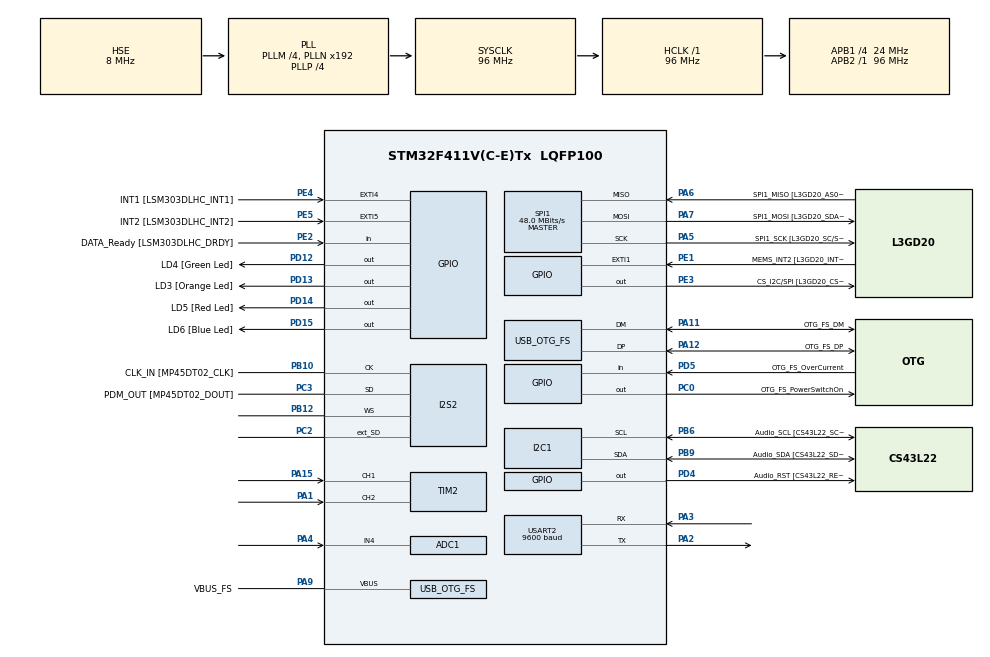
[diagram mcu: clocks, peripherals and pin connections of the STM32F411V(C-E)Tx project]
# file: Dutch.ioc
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ADC1.Channel-0\#ChannelRegularConversion=ADC_CHANNEL_4
ADC1.ContinuousConvMode=ENABLE
ADC1.NbrOfConversionFlag=1
ADC1.master=1
I2S2.AudioFreq=I2S_AUDIOFREQ_96K
I2S2.ErrorAudioFreq=0.15 %
I2S2.FullDuplexMode=I2S_FULLDUPLEXMODE_ENABLE
I2S2.Instance=SPI$Index
I2S2.RealAudioFreq=96.153 KHz
I2S2.VirtualMode=I2S_MODE_MASTER
Mcu.Family=STM32F4
Mcu.Name=STM32F411V(C-E)Tx
Mcu.Package=LQFP100
NVIC.OTG_FS_IRQn=true\:0\:0\:false\:false\:true\:true\:true\:true
NVIC.PriorityGroup=NVIC_PRIORITYGROUP_0
PA0-WKUP.Signal=S_TIM5_CH1
PA1.Signal=S_TIM2_CH2
PA10.GPIO_Label=OTG_FS_ID
PA10.Signal=USB_OTG_FS_ID
PA11.GPIO_Label=OTG_FS_DM
PA11.Mode=Host_Only
PA11.Signal=USB_OTG_FS_DM
PA12.GPIO_Label=OTG_FS_DP
PA12.Mode=Host_Only
PA12.Signal=USB_OTG_FS_DP
PA13.GPIO_Label=SWDIO
PA13.Mode=Serial_Wire
PA13.Signal=SYS_JTMS-SWDIO
PA14.GPIO_Label=SWCLK
PA14.Mode=Serial_Wire
PA14.Signal=SYS_JTCK-SWCLK
PA15.Signal=S_TIM2_CH1_ETR
PA2.Mode=Asynchronous
PA2.Signal=USART2_TX
PA3.Mode=Asynchronous
PA3.Signal=USART2_RX
PA4.Signal=ADCx_IN4
PA5.GPIO_Label=SPI1_SCK [L3GD20_SC/SPC]
PA5.Mode=Full_Duplex_Master
PA5.Signal=SPI1_SCK
PA6.GPIO_Label=SPI1_MISO [L3GD20_AS0/SDO]
PA6.Mode=Full_Duplex_Master
PA6.Signal=SPI1_MISO
PA7.GPIO_Label=SPI1_MOSI [L3GD20_SDA/SDI/SDO]
PA7.Mode=Full_Duplex_Master
PA7.Signal=SPI1_MOSI
PA9.GPIO_Label=VBUS_FS
PA9.Mode=Activate_VBUS
PA9.Signal=USB_OTG_FS_VBUS
PB10.GPIO_Label=CLK_IN [MP45DT02_CLK]
PB10.Mode=Full_Duplex_Master
PB10.Signal=I2S2_CK
PB12.Mode=Full_Duplex_Master
PB12.Signal=I2S2_WS
PB3.GPIO_Label=SWO
PB3.Signal=SYS_JTDO-SWO
PB6.GPIO_Label=Audio_SCL [CS43L22_SCL]
PB6.GPIO_Mode=GPIO_MODE_AF_OD
PB6.GPIO_Pu=GPIO_PULLUP
PB6.GPIO_PuPd=GPIO_NOPULL
PB6.GPIO_Speed=GPIO_SPEED_FREQ_LOW
PB6.Mode=I2C
PB6.Signal=I2C1_SCL
PB9.GPIO_Label=Audio_SDA [CS43L22_SDA]
PB9.GPIO_Mode=GPIO_MODE_AF_OD
PB9.GPIO_Pu=GPIO_PULLUP
PB9.GPIO_PuPd=GPIO_NOPULL
PB9.GPIO_Speed=GPIO_SPEED_FREQ_LOW
PB9.Mode=I2C
PB9.Signal=I2C1_SDA
PC0.GPIO_Label=OTG_FS_PowerSwitchOn
PC0.PinState=GPIO_PIN_SET
PC0.Signal=GPIO_Output
PC10.GPIO_Label=I2S3_SCK [CS43L22_SCLK]
PC10.GPIO_Mode=GPIO_MODE_AF_PP
PC10.GPIO_PuPd=GPIO_NOPULL
PC10.GPIO_Speed=GPIO_SPEED_FREQ_LOW
PC10.Signal=I2S3_CK
PC12.GPIO_Label=I2S3_SD [CS43L22_SDIN]
PC12.GPIO_Mode=GPIO_MODE_AF_PP
PC12.GPIO_PuPd=GPIO_NOPULL
PC12.GPIO_Speed=GPIO_SPEED_FREQ_LOW
PC12.Signal=I2S3_SD
PC14-OSC32_IN.GPIO_Label=PC14-OSC32_IN
PC14-OSC32_IN.Mode=LSE-External-Oscillator
PC14-OSC32_IN.Signal=RCC_OSC32_IN
PC15-OSC32_OUT.GPIO_Label=PC15-OSC32_OUT
PC15-OSC32_OUT.Mode=LSE-External-Oscillator
PC15-OSC32_OUT.Signal=RCC_OSC32_OUT
PC2.Mode=Full_Duplex_Master
PC2.Signal=I2S2_ext_SD
PC3.GPIO_Label=PDM_OUT [MP45DT02_DOUT]
PC3.Mode=Full_Duplex_Master
PC3.Signal=I2S2_SD
PC7.GPIO_Label=I2S3_MCK [CS43L22_MCLK]
PC7.GPIO_Mode=GPIO_MODE_AF_PP
PC7.GPIO_PuPd=GPIO_NOPULL
PC7.GPIO_Speed=GPIO_SPEED_FREQ_LOW
PC7.Signal=I2S3_MCK
PD12.GPIO_Label=LD4 [Green Led]
PD12.GPIO_PuPd=GPIO_NOPULL
PD12.GPIO_Speed=GPIO_SPEED_FREQ_LOW
PD12.Signal=GPIO_Output
PD13.GPIO_Label=LD3 [Orange Led]
PD13.GPIO_PuPd=GPIO_NOPULL
PD13.GPIO_Speed=GPIO_SPEED_FREQ_LOW
PD13.Signal=GPIO_Output
PD14.GPIO_Label=LD5 [Red Led]
PD14.GPIO_PuPd=GPIO_NOPULL
PD14.GPIO_Speed=GPIO_SPEED_FREQ_LOW
PD14.Signal=GPIO_Output
PD15.GPIO_Label=LD6 [Blue Led]
PD15.GPIO_PuPd=GPIO_NOPULL
PD15.GPIO_Speed=GPIO_SPEED_FREQ_LOW
PD15.Signal=GPIO_Output
PD4.GPIO_Label=Audio_RST [CS43L22_RESET]
PD4.Signal=GPIO_Output
PD5.GPIO_Label=OTG_FS_OverCurrent
PD5.Signal=GPIO_Input
PE1.GPIO_Label=MEMS_INT2 [L3GD20_INT2]
PE1.GPIO_ModeDefaultEXTI=GPIO_MODE_EVT_RISING
PE1.Signal=GPXTI1
PE2.GPIO_Label=DATA_Ready [LSM303DLHC_DRDY]
PE2.Signal=GPIO_Input
PE3.GPIO_Label=CS_I2C/SPI [L3GD20_CS_I2C/SPI]
PE3.Signal=GPIO_Output
PE4.GPIO_Label=INT1 [LSM303DLHC_INT1]
PE4.GPIO_ModeDefaultEXTI=GPIO_MODE_EVT_RISING
PE4.Signal=GPXTI4
PE5.GPIO_Label=INT2 [LSM303DLHC_INT2]
PE5.GPIO_ModeDefaultEXTI=GPIO_MODE_EVT_RISING
PE5.Signal=GPXTI5
PH0\ -\ OSC_IN.GPIO_Label=PH0-OSC_IN
PH0\ -\ OSC_IN.Mode=HSE-External-Oscillator
PH0\ -\ OSC_IN.Signal=RCC_OSC_IN
PH1\ -\ OSC_OUT.GPIO_Label=PH1-OSC_OUT
PH1\ -\ OSC_OUT.Mode=HSE-External-Oscillator
PH1\ -\ OSC_OUT.Signal=RCC_OSC_OUT
ProjectManager.HeapSize=0x200
ProjectManager.StackSize=0x400
ProjectManager.TargetToolchain=STM32CubeIDE
RCC.48MHZClocksFreq_Value=48000000
RCC.AHBFreq_Value=96000000
RCC.APB1CLKDivider=RCC_HCLK_DIV4
RCC.APB1Freq_Value=24000000
RCC.APB1TimFreq_Value=48000000
RCC.APB2Freq_Value=96000000
RCC.APB2TimFreq_Value=96000000
RCC.CortexFreq_Value=96000000
RCC.HCLKFreq_Value=96000000
RCC.HSE_VALUE=8000000
RCC.HSI_VALUE=16000000
RCC.PLLI2SM=5
RCC.PLLI2SN=200
RCC.PLLM=4
RCC.PLLP=RCC_PLLP_DIV4
RCC.PLLQ=8
RCC.SYSCLKFreq_VALUE=96000000
RCC.SYSCLKSource=RCC_SYSCLKSOURCE_PLLCLK
RCC.VCOOutputFreq_Value=384000000
SH.ADCx_IN4.0=ADC1_IN4,IN4
SH.S_TIM2_CH1_ETR.0=TIM2_CH1,Encoder_Interface
SH.S_TIM2_CH2.0=TIM2_CH2,Encoder_Interface
SH.S_TIM5_CH1.0=TIM5_CH1
SPI1.BaudRatePrescaler=SPI_BAUDRATEPRESCALER_2
SPI1.CalculateBaudRate=48.0 MBits/s
SPI1.Direction=SPI_DIRECTION_2LINES
SPI1.Mode=SPI_MODE_MASTER
SPI1.VirtualType=VM_MASTER
TIM2.IC1Filter=5
USART2.BaudRate=9600
USART2.VirtualMode=VM_ASYNC
USB_HOST.BSP.number=1
USB_HOST.USBH_HandleTypeDef=hUsbHostFS
USB_HOST.VirtualModeFS=Cdc
USB_HOST0.BSP.STBoard=false
USB_HOST0.BSP.api=Unknown
USB_HOST0.BSP.instance=PC0
USB_HOST0.BSP.ip=GPIO
USB_HOST0.BSP.mode=Output
USB_HOST0.BSP.name=Drive_VBUS_FS
USB_HOST0.BSP.solution=PC0
USB_OTG_FS.VirtualMode=Host_Only
USB_OTG_FS.phy_itface=HCD_PHY_EMBEDDED
VP_USB_HOST_VS_USB_HOST_CDC_FS.Mode=CDC_FS
board=STM32F411E-DISCO

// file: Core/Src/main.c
/* USER CODE BEGIN Header */
/**
  ******************************************************************************
  * @file           : main.c
  * @brief          : Main program body
  ******************************************************************************
  * @attention
  *
  * Copyright (c) 2025 STMicroelectronics.
  * All rights reserved.
  *
  * This software is licensed under terms that can be found in the LICENSE file
  * in the root directory of this software component.
  * If no LICENSE file comes with this software, it is provided AS-IS.
  *
  ******************************************************************************
  */
/* USER CODE END Header */
#include "main.h"
#include <math.h>
#include "usb_host.h"
#include <stdio.h>
#include <string.h>

ADC_HandleTypeDef hadc1;

I2C_HandleTypeDef hi2c1;

I2S_HandleTypeDef hi2s2;

SPI_HandleTypeDef hspi1;

TIM_HandleTypeDef htim2;

UART_HandleTypeDef huart2;

/* USER CODE BEGIN PV */
#define BUFFER_SIZE 3
uint32_t potentiometer_buffer[BUFFER_SIZE] = {0};
uint8_t buffer_index = 0;

/* USER CODE END PV */

void SystemClock_Config(void);
static void MX_GPIO_Init(void);
static void MX_I2C1_Init(void);
static void MX_I2S2_Init(void);
static void MX_SPI1_Init(void);
static void MX_USART2_UART_Init(void);
static void MX_TIM2_Init(void);
static void MX_ADC1_Init(void);
void MX_USB_HOST_Process(void);

int main(void)
{

  /* MCU Configuration--------------------------------------------------------*/

  /* Reset of all peripherals, Initializes the Flash interface and the Systick. */
  HAL_Init();

  /* Configure the system clock */
  SystemClock_Config();

  /* Initialize all configured peripherals */
  MX_GPIO_Init();
  MX_I2C1_Init();
  MX_I2S2_Init();
  MX_SPI1_Init();
  MX_USB_HOST_Init();
  MX_USART2_UART_Init();
  MX_TIM2_Init();
  MX_ADC1_Init();
  /* USER CODE BEGIN 2 */
  GPIO_InitTypeDef GPIO_InitStruct = {0};
  __HAL_RCC_GPIOA_CLK_ENABLE();

  GPIO_InitStruct.Pin = GPIO_PIN_0 | GPIO_PIN_1;
  GPIO_InitStruct.Mode = GPIO_MODE_AF_PP;
  GPIO_InitStruct.Pull = GPIO_PULLUP;           // <--- Enable internal pull-ups
  GPIO_InitStruct.Speed = GPIO_SPEED_FREQ_LOW;
  GPIO_InitStruct.Alternate = GPIO_AF1_TIM2;    // AF1 corresponds to TIM2 on PA0/PA1
  HAL_GPIO_Init(GPIOA, &GPIO_InitStruct);

  #define ADC_BUFFER_SIZE 5
  int16_t counterValue = 0;
  float angleValue = 0.0f;
  float potentiometerPercent = 0.0f;

  uint32_t adcValue = 0;
  uint32_t adcValueRead = 0;

  const int adc_max = 740;
  const int adc_min = 40;

  char msg[120];

  uint32_t adcBuffer[ADC_BUFFER_SIZE] = {0};
  uint8_t adcIndex = 0;

  HAL_TIM_Encoder_Start(&htim2, TIM_CHANNEL_ALL);
  /* USER CODE END 2 */

  /* Infinite loop */
    /* USER CODE BEGIN WHILE */
    while (1)
       {
    	counterValue = (int16_t)__HAL_TIM_GET_COUNTER(&htim2);
    	angleValue = fmodf((360.0f / 1200.0f) * counterValue, 900.0f);

		if (angleValue < 0) angleValue += 900.0f;

		HAL_ADC_Start(&hadc1);
		if (HAL_ADC_PollForConversion(&hadc1, HAL_MAX_DELAY) == HAL_OK)
		{
			adcValueRead = HAL_ADC_GetValue(&hadc1);
			adcBuffer[adcIndex] = adcValueRead;

			uint32_t adcSum = 0;
			for (int i = 0; i < ADC_BUFFER_SIZE; i++)
				adcSum += adcBuffer[i];
			uint32_t adcValueAvg = adcSum / ADC_BUFFER_SIZE;

			adcValue = adcValueAvg;
			HAL_UART_Transmit(&huart2, (uint8_t*)msg, strlen(msg), HAL_MAX_DELAY);

			if (adcValue > adc_max){
				adcValue = adc_max;
			}
			if (adcValue < adc_min){
				adcValue = adc_min;
			}

			potentiometerPercent = (float)(adc_max - adcValue) * 100.0f / (float)(adc_max - adc_min);
			if (potentiometerPercent < 0) potentiometerPercent = 0;
			if (potentiometerPercent > 100) potentiometerPercent = 100;

		}

		sprintf(msg, "Wheel: %.2f | Accelerator: %.1f | Clutch: 0 | Brake: 0\r\n",
		                angleValue, potentiometerPercent);
		HAL_UART_Transmit(&huart2, (uint8_t*)msg, strlen(msg), HAL_MAX_DELAY);

		HAL_Delay(10);

       }
  }

void SystemClock_Config(void)
{
  RCC_OscInitTypeDef RCC_OscInitStruct = {0};
  RCC_ClkInitTypeDef RCC_ClkInitStruct = {0};

  /** Configure the main internal regulator output voltage
  */
  __HAL_RCC_PWR_CLK_ENABLE();
  __HAL_PWR_VOLTAGESCALING_CONFIG(PWR_REGULATOR_VOLTAGE_SCALE1);

  /** Initializes the RCC Oscillators according to the specified parameters
  * in the RCC_OscInitTypeDef structure.
  */
  RCC_OscInitStruct.OscillatorType = RCC_OSCILLATORTYPE_HSE;
  RCC_OscInitStruct.HSEState = RCC_HSE_ON;
  RCC_OscInitStruct.PLL.PLLState = RCC_PLL_ON;
  RCC_OscInitStruct.PLL.PLLSource = RCC_PLLSOURCE_HSE;
  RCC_OscInitStruct.PLL.PLLM = 4;
  RCC_OscInitStruct.PLL.PLLN = 192;
  RCC_OscInitStruct.PLL.PLLP = RCC_PLLP_DIV4;
  RCC_OscInitStruct.PLL.PLLQ = 8;
  if (HAL_RCC_OscConfig(&RCC_OscInitStruct) != HAL_OK)
  {
    Error_Handler();
  }

  /** Initializes the CPU, AHB and APB buses clocks
  */
  RCC_ClkInitStruct.ClockType = RCC_CLOCKTYPE_HCLK|RCC_CLOCKTYPE_SYSCLK
                              |RCC_CLOCKTYPE_PCLK1|RCC_CLOCKTYPE_PCLK2;
  RCC_ClkInitStruct.SYSCLKSource = RCC_SYSCLKSOURCE_PLLCLK;
  RCC_ClkInitStruct.AHBCLKDivider = RCC_SYSCLK_DIV1;
  RCC_ClkInitStruct.APB1CLKDivider = RCC_HCLK_DIV4;
  RCC_ClkInitStruct.APB2CLKDivider = RCC_HCLK_DIV1;

  if (HAL_RCC_ClockConfig(&RCC_ClkInitStruct, FLASH_LATENCY_3) != HAL_OK)
  {
    Error_Handler();
  }
}

static void MX_ADC1_Init(void)
{

  ADC_ChannelConfTypeDef sConfig = {0};

  /** Configure the global features of the ADC (Clock, Resolution, Data Alignment and number of conversion)
  */
  hadc1.Instance = ADC1;
  hadc1.Init.ClockPrescaler = ADC_CLOCK_SYNC_PCLK_DIV4;
  hadc1.Init.Resolution = ADC_RESOLUTION_12B;
  hadc1.Init.ScanConvMode = DISABLE;
  hadc1.Init.ContinuousConvMode = ENABLE;
  hadc1.Init.DiscontinuousConvMode = DISABLE;
  hadc1.Init.ExternalTrigConvEdge = ADC_EXTERNALTRIGCONVEDGE_NONE;
  hadc1.Init.ExternalTrigConv = ADC_SOFTWARE_START;
  hadc1.Init.DataAlign = ADC_DATAALIGN_RIGHT;
  hadc1.Init.NbrOfConversion = 1;
  hadc1.Init.DMAContinuousRequests = DISABLE;
  hadc1.Init.EOCSelection = ADC_EOC_SINGLE_CONV;
  if (HAL_ADC_Init(&hadc1) != HAL_OK)
  {
    Error_Handler();
  }

  /** Configure for the selected ADC regular channel its corresponding rank in the sequencer and its sample time.
  */
  sConfig.Channel = ADC_CHANNEL_4;
  sConfig.Rank = 1;
  sConfig.SamplingTime = ADC_SAMPLETIME_3CYCLES;
  if (HAL_ADC_ConfigChannel(&hadc1, &sConfig) != HAL_OK)
  {
    Error_Handler();
  }

}

static void MX_I2C1_Init(void)
{

  hi2c1.Instance = I2C1;
  hi2c1.Init.ClockSpeed = 100000;
  hi2c1.Init.DutyCycle = I2C_DUTYCYCLE_2;
  hi2c1.Init.OwnAddress1 = 0;
  hi2c1.Init.AddressingMode = I2C_ADDRESSINGMODE_7BIT;
  hi2c1.Init.DualAddressMode = I2C_DUALADDRESS_DISABLE;
  hi2c1.Init.OwnAddress2 = 0;
  hi2c1.Init.GeneralCallMode = I2C_GENERALCALL_DISABLE;
  hi2c1.Init.NoStretchMode = I2C_NOSTRETCH_DISABLE;
  if (HAL_I2C_Init(&hi2c1) != HAL_OK)
  {
    Error_Handler();
  }

}

static void MX_I2S2_Init(void)
{

  hi2s2.Instance = SPI2;
  hi2s2.Init.Mode = I2S_MODE_MASTER_TX;
  hi2s2.Init.Standard = I2S_STANDARD_PHILIPS;
  hi2s2.Init.DataFormat = I2S_DATAFORMAT_16B;
  hi2s2.Init.MCLKOutput = I2S_MCLKOUTPUT_DISABLE;
  hi2s2.Init.AudioFreq = I2S_AUDIOFREQ_96K;
  hi2s2.Init.CPOL = I2S_CPOL_LOW;
  hi2s2.Init.ClockSource = I2S_CLOCK_PLL;
  hi2s2.Init.FullDuplexMode = I2S_FULLDUPLEXMODE_ENABLE;
  if (HAL_I2S_Init(&hi2s2) != HAL_OK)
  {
    Error_Handler();
  }

}

static void MX_SPI1_Init(void)
{

  /* SPI1 parameter configuration*/
  hspi1.Instance = SPI1;
  hspi1.Init.Mode = SPI_MODE_MASTER;
  hspi1.Init.Direction = SPI_DIRECTION_2LINES;
  hspi1.Init.DataSize = SPI_DATASIZE_8BIT;
  hspi1.Init.CLKPolarity = SPI_POLARITY_LOW;
  hspi1.Init.CLKPhase = SPI_PHASE_1EDGE;
  hspi1.Init.NSS = SPI_NSS_SOFT;
  hspi1.Init.BaudRatePrescaler = SPI_BAUDRATEPRESCALER_2;
  hspi1.Init.FirstBit = SPI_FIRSTBIT_MSB;
  hspi1.Init.TIMode = SPI_TIMODE_DISABLE;
  hspi1.Init.CRCCalculation = SPI_CRCCALCULATION_DISABLE;
  hspi1.Init.CRCPolynomial = 10;
  if (HAL_SPI_Init(&hspi1) != HAL_OK)
  {
    Error_Handler();
  }

}

static void MX_TIM2_Init(void)
{

  TIM_Encoder_InitTypeDef sConfig = {0};
  TIM_MasterConfigTypeDef sMasterConfig = {0};

  htim2.Instance = TIM2;
  htim2.Init.Prescaler = 0;
  htim2.Init.CounterMode = TIM_COUNTERMODE_UP;
  htim2.Init.Period = 4294967295;
  htim2.Init.ClockDivision = TIM_CLOCKDIVISION_DIV1;
  htim2.Init.AutoReloadPreload = TIM_AUTORELOAD_PRELOAD_DISABLE;
  sConfig.EncoderMode = TIM_ENCODERMODE_TI1;
  sConfig.IC1Polarity = TIM_ICPOLARITY_RISING;
  sConfig.IC1Selection = TIM_ICSELECTION_DIRECTTI;
  sConfig.IC1Prescaler = TIM_ICPSC_DIV1;
  sConfig.IC1Filter = 5;
  sConfig.IC2Polarity = TIM_ICPOLARITY_RISING;
  sConfig.IC2Selection = TIM_ICSELECTION_DIRECTTI;
  sConfig.IC2Prescaler = TIM_ICPSC_DIV1;
  sConfig.IC2Filter = 0;
  if (HAL_TIM_Encoder_Init(&htim2, &sConfig) != HAL_OK)
  {
    Error_Handler();
  }
  sMasterConfig.MasterOutputTrigger = TIM_TRGO_RESET;
  sMasterConfig.MasterSlaveMode = TIM_MASTERSLAVEMODE_DISABLE;
  if (HAL_TIMEx_MasterConfigSynchronization(&htim2, &sMasterConfig) != HAL_OK)
  {
    Error_Handler();
  }

}

static void MX_USART2_UART_Init(void)
{

  huart2.Instance = USART2;
  huart2.Init.BaudRate = 9600;
  huart2.Init.WordLength = UART_WORDLENGTH_8B;
  huart2.Init.StopBits = UART_STOPBITS_1;
  huart2.Init.Parity = UART_PARITY_NONE;
  huart2.Init.Mode = UART_MODE_TX_RX;
  huart2.Init.HwFlowCtl = UART_HWCONTROL_NONE;
  huart2.Init.OverSampling = UART_OVERSAMPLING_16;
  if (HAL_UART_Init(&huart2) != HAL_OK)
  {
    Error_Handler();
  }

}

static void MX_GPIO_Init(void)
{
  GPIO_InitTypeDef GPIO_InitStruct = {0};

  /* GPIO Ports Clock Enable */
  __HAL_RCC_GPIOE_CLK_ENABLE();
  __HAL_RCC_GPIOC_CLK_ENABLE();
  __HAL_RCC_GPIOH_CLK_ENABLE();
  __HAL_RCC_GPIOA_CLK_ENABLE();
  __HAL_RCC_GPIOB_CLK_ENABLE();
  __HAL_RCC_GPIOD_CLK_ENABLE();

  /*Configure GPIO pin Output Level */
  HAL_GPIO_WritePin(CS_I2C_SPI_GPIO_Port, CS_I2C_SPI_Pin, GPIO_PIN_RESET);

  /*Configure GPIO pin Output Level */
  HAL_GPIO_WritePin(OTG_FS_PowerSwitchOn_GPIO_Port, OTG_FS_PowerSwitchOn_Pin, GPIO_PIN_SET);

  /*Configure GPIO pin Output Level */
  HAL_GPIO_WritePin(GPIOD, LD4_Pin|LD3_Pin|LD5_Pin|LD6_Pin
                          |Audio_RST_Pin, GPIO_PIN_RESET);

  /*Configure GPIO pin : DATA_Ready_Pin */
  GPIO_InitStruct.Pin = DATA_Ready_Pin;
  GPIO_InitStruct.Mode = GPIO_MODE_INPUT;
  GPIO_InitStruct.Pull = GPIO_NOPULL;
  HAL_GPIO_Init(DATA_Ready_GPIO_Port, &GPIO_InitStruct);

  /*Configure GPIO pin : CS_I2C_SPI_Pin */
  GPIO_InitStruct.Pin = CS_I2C_SPI_Pin;
  GPIO_InitStruct.Mode = GPIO_MODE_OUTPUT_PP;
  GPIO_InitStruct.Pull = GPIO_NOPULL;
  GPIO_InitStruct.Speed = GPIO_SPEED_FREQ_LOW;
  HAL_GPIO_Init(CS_I2C_SPI_GPIO_Port, &GPIO_InitStruct);

  /*Configure GPIO pins : INT1_Pin INT2_Pin MEMS_INT2_Pin */
  GPIO_InitStruct.Pin = INT1_Pin|INT2_Pin|MEMS_INT2_Pin;
  GPIO_InitStruct.Mode = GPIO_MODE_EVT_RISING;
  GPIO_InitStruct.Pull = GPIO_NOPULL;
  HAL_GPIO_Init(GPIOE, &GPIO_InitStruct);

  /*Configure GPIO pin : OTG_FS_PowerSwitchOn_Pin */
  GPIO_InitStruct.Pin = OTG_FS_PowerSwitchOn_Pin;
  GPIO_InitStruct.Mode = GPIO_MODE_OUTPUT_PP;
  GPIO_InitStruct.Pull = GPIO_NOPULL;
  GPIO_InitStruct.Speed = GPIO_SPEED_FREQ_LOW;
  HAL_GPIO_Init(OTG_FS_PowerSwitchOn_GPIO_Port, &GPIO_InitStruct);

  /*Configure GPIO pin : PA0 */
  GPIO_InitStruct.Pin = GPIO_PIN_0;
  GPIO_InitStruct.Mode = GPIO_MODE_AF_PP;
  GPIO_InitStruct.Pull = GPIO_NOPULL;
  GPIO_InitStruct.Speed = GPIO_SPEED_FREQ_LOW;
  GPIO_InitStruct.Alternate = GPIO_AF2_TIM5;
  HAL_GPIO_Init(GPIOA, &GPIO_InitStruct);

  /*Configure GPIO pins : LD4_Pin LD3_Pin LD5_Pin LD6_Pin
                           Audio_RST_Pin */
  GPIO_InitStruct.Pin = LD4_Pin|LD3_Pin|LD5_Pin|LD6_Pin
                          |Audio_RST_Pin;
  GPIO_InitStruct.Mode = GPIO_MODE_OUTPUT_PP;
  GPIO_InitStruct.Pull = GPIO_NOPULL;
  GPIO_InitStruct.Speed = GPIO_SPEED_FREQ_LOW;
  HAL_GPIO_Init(GPIOD, &GPIO_InitStruct);

  /*Configure GPIO pins : I2S3_MCK_Pin I2S3_SCK_Pin I2S3_SD_Pin */
  GPIO_InitStruct.Pin = I2S3_MCK_Pin|I2S3_SCK_Pin|I2S3_SD_Pin;
  GPIO_InitStruct.Mode = GPIO_MODE_AF_PP;
  GPIO_InitStruct.Pull = GPIO_NOPULL;
  GPIO_InitStruct.Speed = GPIO_SPEED_FREQ_LOW;
  GPIO_InitStruct.Alternate = GPIO_AF6_SPI3;
  HAL_GPIO_Init(GPIOC, &GPIO_InitStruct);

  /*Configure GPIO pin : OTG_FS_OverCurrent_Pin */
  GPIO_InitStruct.Pin = OTG_FS_OverCurrent_Pin;
  GPIO_InitStruct.Mode = GPIO_MODE_INPUT;
  GPIO_InitStruct.Pull = GPIO_NOPULL;
  HAL_GPIO_Init(OTG_FS_OverCurrent_GPIO_Port, &GPIO_InitStruct);

}

void Error_Handler(void)
{
  __disable_irq();
  while (1)
  {
  }
}
